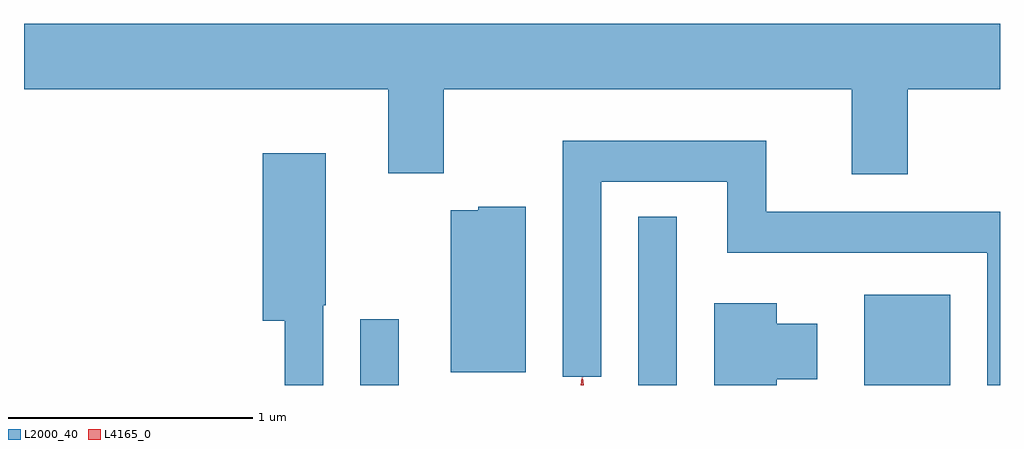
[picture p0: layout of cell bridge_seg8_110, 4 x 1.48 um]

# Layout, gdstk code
import gdstk
lib = gdstk.Library(unit=1e-6, precision=1e-09)
def R(c, l, rs):  # rectangles x0, y0, x1, y1
    for r in rs: c.add(gdstk.rectangle(r[:2], r[2:], *l))
def P(c, l, *ps):  # polygons
    for p in ps: c.add(gdstk.Polygon(p, *l))
L2000_40 = (2000, 40)
L4165_0 = (4165, 0)

bridge_seg8_110 = lib.new_cell('bridge_seg8_110')
R(bridge_seg8_110, L2000_40, [(1536.196,1806.342,1536.354,1806.613), (1537.336,1806.342,1537.494,1807.033), (1538.261,1806.342,1538.614,1806.714)])
P(bridge_seg8_110, L2000_40, [(1538.439,1807.556),(1538.818,1807.556),(1538.818,1807.824),(1534.818,1807.824),(1534.818,1807.556),(1536.311,1807.556),(1536.311,1807.211),(1536.539,1807.211),(1536.539,1807.556),(1538.211,1807.556),(1538.211,1807.206),(1538.439,1807.206)],
  [(1538.818,1807.054),(1537.859,1807.054),(1537.859,1807.344),(1537.026,1807.344),(1537.026,1806.378),(1537.184,1806.378),(1537.184,1807.176),(1537.701,1807.176),(1537.701,1806.886),(1538.766,1806.886),(1538.766,1806.342),(1538.818,1806.342)],
  [(1536.044,1806.67),(1536.054,1806.67),(1536.054,1807.294),(1535.796,1807.294),(1535.796,1806.606),(1535.886,1806.606),(1535.886,1806.342),(1536.044,1806.342)],
  [(1536.874,1807.074),(1536.68,1807.074),(1536.68,1807.059),(1536.566,1807.059),(1536.566,1806.396),(1536.874,1806.396)],
  [(1537.904,1806.366),(1538.069,1806.366),(1538.069,1806.594),(1537.904,1806.594),(1537.904,1806.679),(1537.646,1806.679),(1537.646,1806.342),(1537.904,1806.342)])
P(bridge_seg8_110, L4165_0, [(1537.103,1806.342),(1537.107,1806.376),(1537.108,1806.376),(1537.113,1806.342)],
  [(1537.099,1806.342),(1537.103,1806.373),(1537.104,1806.373),(1537.109,1806.342)])

lib.write_gds('bridge_seg8_110.gds')
